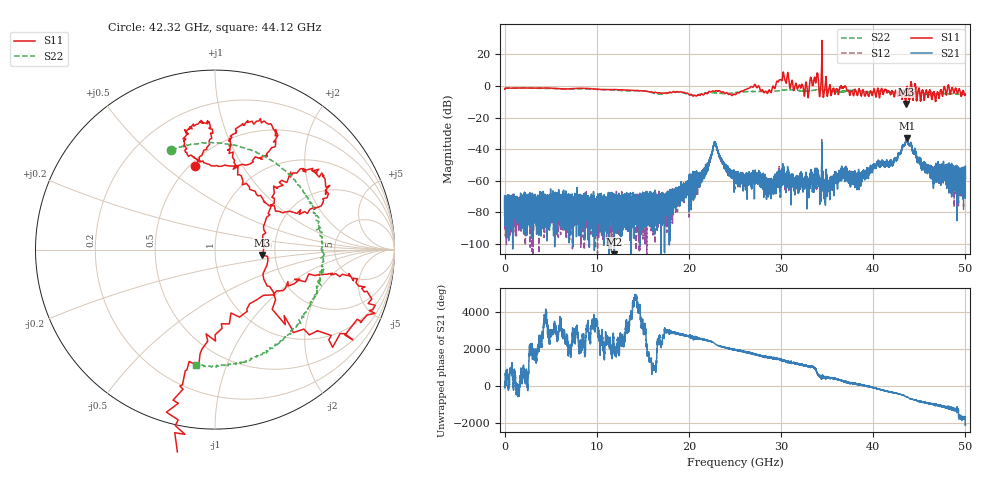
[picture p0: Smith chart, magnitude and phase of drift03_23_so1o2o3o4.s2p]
!Created with skrf (http://scikit-rf.org).
# Hz S RI R 50.0
!freq ReS11 ImS11 ReS21 ImS21 ReS12 ImS12 ReS22 ImS22
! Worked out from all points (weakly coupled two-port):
!   10000 points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, 5.3 MHz to 50 GHz, reference 50 ohm
!   highest |S21| = -33.03 dB at 43.65 GHz (marker M1); lowest = -119.8 dB at 11.91 GHz (marker M2)
!   lowest |S11| = -11.5 dB at 43.53 GHz (marker M3), VSWR 1.73, Z = 85.7 - j5.62 ohm
!   |S11| at or under -10 dB: 43.48906 GHz to 43.55477 GHz (65.71 MHz wide, 0.151 % of centre)
!   |S22| runs from -5.9 to -1.3 dB; largest |S21 - S12| = 0.012
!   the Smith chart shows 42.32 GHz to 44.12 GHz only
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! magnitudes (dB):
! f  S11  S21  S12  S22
! 5.3 MHz  -2.1  -75.8  -75.8  -2.1
! 8.34 GHz  -1.5  -72.1  -86.7  -1.9
! 11.91 GHz  -2.3  -119.8  -83.6  -2.6
! 16.67 GHz  -4.4  -76.9  -80.2  -5.2
! 21.18 GHz  -6.1  -54.8  -58.5  -5.3
! 22.81 GHz  -3.4  -35.6  -35.6  -4.4
! 25.01 GHz  -5.5  -56.6  -58.0  -4.2
! 27.02 GHz  -0.4  -59.4  -57.4  -3.6
! 28.82 GHz  -3.3  -65.8  -64.2  -3.5
! 30.14 GHz  4.3  -53.6  -56.4  -2.8
! 32.74 GHz  2.0  -64.0  -61.4  -3.3
! 33.34 GHz  2.5  -56.3  -58.8  -2.9
! 33.82 GHz  4.0  -58.7  -59.3  -2.5
! 34.86 GHz  5.3  -58.2  -65.8  -2.4
! 36.47 GHz  -0.4  -54.7  -55.9  -3.6
! 38.09 GHz  -2.4  -57.5  -57.2  -2.8
! 41.67 GHz  -3.1  -49.3  -49.5  -3.7
! 43.53 GHz  -11.5  -35.3  -35.4  -4.2
! 43.65 GHz  -1.4  -33.0  -33.5  -4.1
! 46.35 GHz  -7.8  -58.0  -54.0  -5.6
! 49.34 GHz  -2.1  -58.5  -55.7  -5.1
! 50 GHz  -5.3  -50.8  -58.2  -5.0
